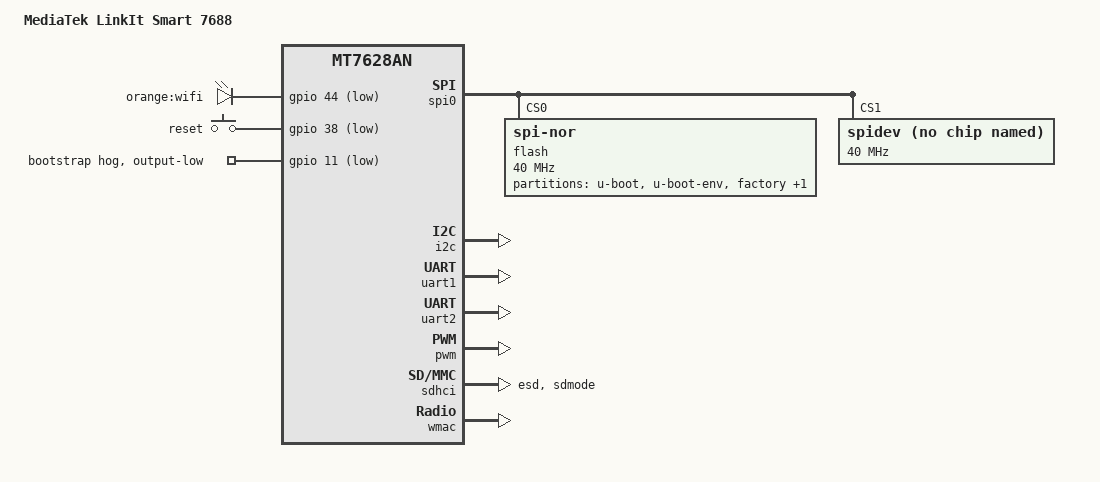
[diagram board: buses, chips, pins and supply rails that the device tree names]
#include "mt7628an.dtsi"

#include <dt-bindings/gpio/gpio.h>
#include <dt-bindings/input/input.h>

/ {
	compatible = "mediatek,linkit-smart-7688", "mediatek,mt7628an-soc";
	model = "MediaTek LinkIt Smart 7688";

	aliases {
		led-boot = &led_wifi;
		led-failsafe = &led_wifi;
		led-running = &led_wifi;
		led-upgrade = &led_wifi;
	};

	chosen {
		bootargs = "console=ttyS2,57600";
	};

	aliases {
		serial0 = &uart2;
	};

	leds {
		compatible = "gpio-leds";

		led_wifi: wifi {
			label = "orange:wifi";
			gpios = <&gpio 44 GPIO_ACTIVE_LOW>;
		};
	};

	keys {
		compatible = "gpio-keys";

		wps {
			label = "reset";
			gpios = <&gpio 38 GPIO_ACTIVE_LOW>;
			linux,code = <KEY_WPS_BUTTON>;
		};
	};
};

&state_default {
	gpio {
		groups = "gpio";
		function = "gpio";
	};

	refclk {
		groups = "refclk";
		function = "gpio";
	};

	i2s {
		groups = "i2s";
		function = "gpio";
	};

	spis {
		groups = "spis";
		function = "gpio";
	};

	wled_an {
		groups = "wled_an";
		function = "gpio";
	};

	wdt {
		groups = "wdt";
		function = "gpio";
	};
};

&spi0 {
	status = "okay";

	pinctrl-names = "default";
	pinctrl-0 = <&spi_pins>, <&spi_cs1_pins>;

	flash@0 {
		compatible = "jedec,spi-nor";
		reg = <0>;
		spi-max-frequency = <40000000>;

		partitions {
			compatible = "fixed-partitions";
			#address-cells = <1>;
			#size-cells = <1>;

			partition@0 {
				label = "u-boot";
				reg = <0x0 0x30000>;
				read-only;
			};

			partition@30000 {
				label = "u-boot-env";
				reg = <0x30000 0x10000>;
			};

			partition@40000 {
				label = "factory";
				reg = <0x40000 0x10000>;
				read-only;

				nvmem-layout {
					compatible = "fixed-layout";
					#address-cells = <1>;
					#size-cells = <1>;

					eeprom_factory_0: eeprom@0 {
						reg = <0x0 0x400>;
					};

					macaddr_factory_2e: macaddr@2e {
						reg = <0x2e 0x6>;
					};
				};
			};

			partition@50000 {
				compatible = "denx,uimage";
				label = "firmware";
				reg = <0x50000 0x1fb0000>;
			};
		};
	};

	spidev@1 {
		#address-cells = <1>;
		#size-cells = <1>;
		compatible = "linux,spidev";
		reg = <1>;
		spi-max-frequency = <40000000>;
	};
};

&gpio {
	bootstrap {
		gpio-hog;
		line-name = "bootstrap";
		output-low;
		gpios = <11 GPIO_ACTIVE_LOW>;
	};
};

&i2c {
	status = "okay";
};

&uart1 {
	status = "okay";
};

&uart2 {
	status = "okay";
};

&pwm {
	status = "okay";
};

&ethernet {
	nvmem-cells = <&macaddr_factory_2e>;
	nvmem-cell-names = "mac-address";
};

&pinctrl {
	ephy-digital;

	sdxc_iot_mode: sdxc_iot_mode {
		esd {
			groups = "esd";
			function = "iot";
		};

		sdxc {
			groups = "sdmode";
			function = "sdxc";
		};
	};
};

&sdhci {
	status = "okay";

	pinctrl-0 = <&sdxc_iot_mode>;
	pinctrl-1 = <&sdxc_iot_mode>;
	cd-inverted;
};

&wmac {
	status = "okay";

	nvmem-cells = <&eeprom_factory_0>;
	nvmem-cell-names = "eeprom";
};
